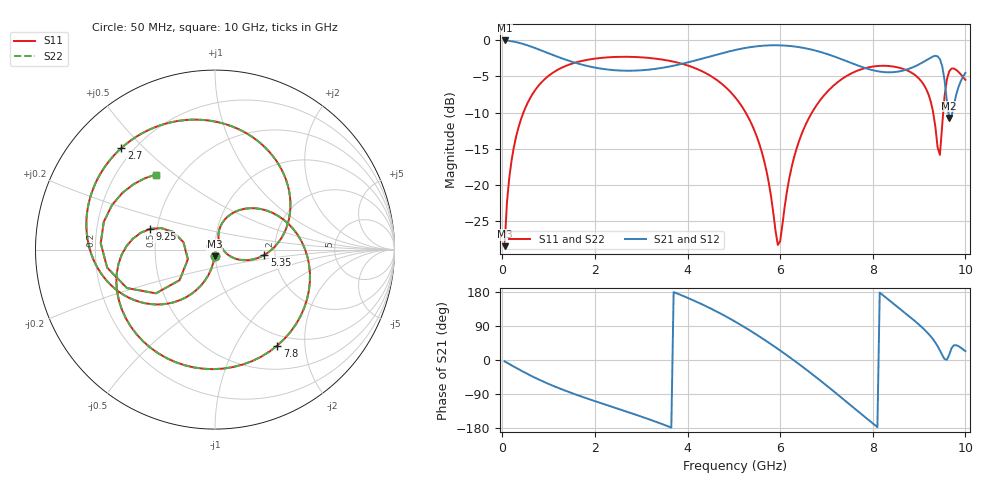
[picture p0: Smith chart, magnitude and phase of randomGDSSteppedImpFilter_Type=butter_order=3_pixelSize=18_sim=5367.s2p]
! freq	dB(S11)	phase(S11)	dB(S12)	phase(S12)
!  dB(S21)	phase(S21)	dB(S22)	phase(S22)
!S-par simulation data
#  GHz  S  DB  R 50
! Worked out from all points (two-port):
!   200 points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, 50 MHz to 10 GHz, reference 50 ohm
!   highest |S21| = -0.01 dB at 50 MHz (marker M1); lowest = -10.7 dB at 9.65 GHz (marker M2)
!   |S21| within 3 dB of the highest: start of sweep to 1.528 GHz; 4.033 GHz to 7.486 GHz (3.453 GHz wide, 60 % of centre) (the widest 2 of 3)
!   lowest |S11| = -28.5 dB at 50 MHz (marker M3), VSWR 1.08, Z = 49.6 - j3.72 ohm
!   |S11| at or under -10 dB: start of sweep to 456.7 MHz; 5.255 GHz to 6.687 GHz (1.433 GHz wide, 24 % of centre); 9.304 GHz to 9.521 GHz (217.3 MHz wide, 2.31 % of centre)
!   |S22| runs from -28.5 to -2.3 dB; largest |S21 - S12| = 0
!   S11 on the Smith chart (normalised r, x): 50 MHz: 0.99, -0.07; 2.7 GHz: 0.15, +0.43; 5.35 GHz: 1.76, -0.11; 7.8 GHz: 0.83, -1.50; 9.25 GHz: 0.46, +0.12; 10 GHz: 0.37, +0.43
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0.05  -28.52 -93.7  -0.01 -3.6  -0.01 -3.6  -28.52 -93.7
0.2  -16.64 -104.6  -0.12 -14.1  -0.12 -14.1  -16.64 -104.6
0.5  -9.32 -124.6  -0.59 -34.1  -0.59 -34.1  -9.32 -124.6
1.75  -2.80 171.3  -3.41 -98.2  -3.41 -98.2  -2.80 171.3
2.7  -2.28 132.7  -4.21 -136.9  -4.21 -136.9  -2.28 132.8
3.4  -2.60 103.2  -3.86 -166.7  -3.86 -166.7  -2.60 103.2
4.3  -4.23 58.6  -2.55 147.7  -2.55 147.7  -4.23 58.7
5.05  -8.06 13.3  -1.30 99.7  -1.30 99.7  -8.06 13.4
5.35  -11.14 -6.1  -0.94 77.7  -0.94 77.7  -11.14 -5.9
5.7  -17.95 -23.9  -0.71 50.1  -0.71 50.1  -17.94 -23.6
5.95  -28.35 17.7  -0.68 29.3  -0.68 29.3  -28.28 18.0
6.3  -16.22 74.7  -0.84 -1.2  -0.84 -1.2  -16.20 74.7
6.7  -9.86 45.8  -1.31 -38.2  -1.31 -38.2  -9.86 45.7
7.2  -6.01 0.5  -2.31 -87.0  -2.31 -87.0  -6.01 0.4
7.8  -3.91 -57.1  -3.76 -147.4  -3.76 -147.4  -3.91 -57.2
8.35  -3.55 -109.3  -4.43 158.3  -4.43 158.3  -3.55 -109.4
8.85  -4.53 -156.8  -3.77 109.0  -3.77 109.0  -4.53 -156.9
9.25  -8.43 162.4  -2.38 62.6  -2.38 62.6  -8.43 162.2
9.45  -15.87 -160.3  -2.59 25.2  -2.59 25.2  -15.93 -160.4
9.55  -7.75 -143.5  -5.50 2.8  -5.50 2.8  -7.76 -143.4
9.65  -4.30 -170.5  -10.73 13.4  -10.73 13.4  -4.31 -170.5
10  -5.47 128.4  -4.49 23.5  -4.49 23.5  -5.47 128.3
